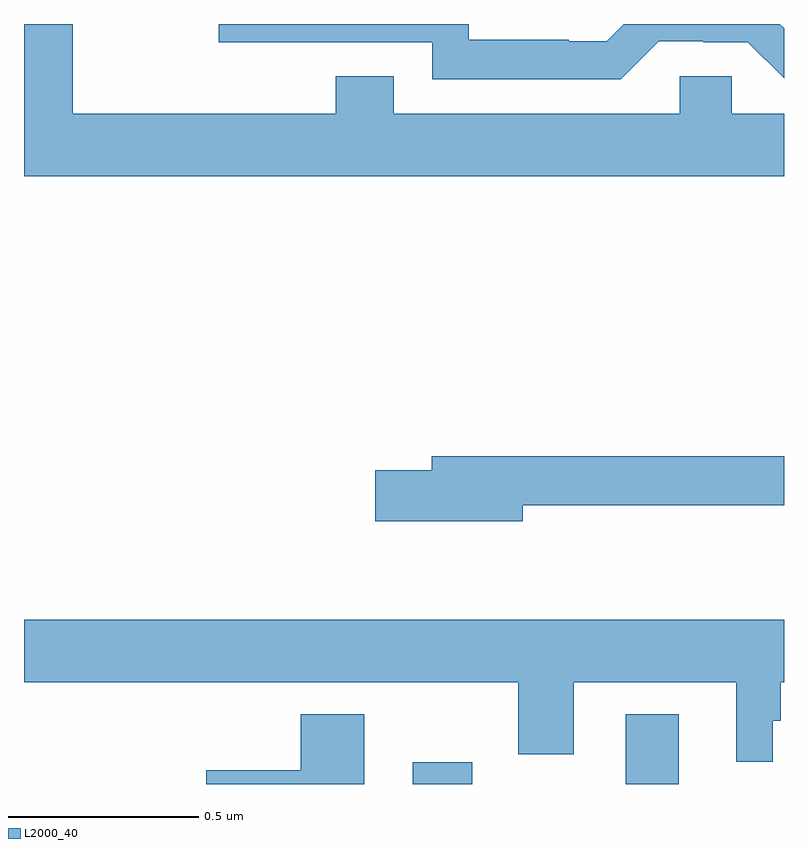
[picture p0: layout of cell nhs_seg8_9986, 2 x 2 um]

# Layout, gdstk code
import gdstk
lib = gdstk.Library(unit=1e-6, precision=1e-09)
def R(c, l, rs):  # rectangles x0, y0, x1, y1
    for r in rs: c.add(gdstk.rectangle(r[:2], r[2:], *l))
def P(c, l, *ps):  # polygons
    for p in ps: c.add(gdstk.Polygon(p, *l))
L2000_40 = (2000, 40)

nhs_seg8_9986 = lib.new_cell('nhs_seg8_9986')
R(nhs_seg8_9986, L2000_40, [(244.023,1114.9,244.179,1114.957), (244.583,1114.9,244.723,1115.083)])
P(nhs_seg8_9986, L2000_40, [(245,1116.664),(244.863,1116.664),(244.863,1116.762),(244.725,1116.762),(244.725,1116.664),(243.973,1116.664),(243.973,1116.763),(243.821,1116.763),(243.821,1116.664),(243.128,1116.664),(243.128,1116.9),(243,1116.9),(243,1116.5),(245,1116.5)],
  [(244.671,1116.855),(244.787,1116.855),(244.787,1116.852),(244.905,1116.852),(245,1116.757),(245,1116.889),(244.989,1116.9),(244.578,1116.9),(244.533,1116.855),(244.433,1116.855),(244.433,1116.859),(244.17,1116.859),(244.17,1116.9),(243.513,1116.9),(243.513,1116.852),(244.074,1116.852),(244.074,1116.755),(244.571,1116.755)],
  [(244.312,1115.634),(245,1115.634),(245,1115.762),(244.073,1115.762),(244.073,1115.726),(243.924,1115.726),(243.924,1115.591),(244.312,1115.591)],
  [(244.971,1115.067),(244.991,1115.067),(244.991,1115.168),(245,1115.168),(245,1115.332),(243,1115.332),(243,1115.168),(244.3,1115.168),(244.3,1114.978),(244.447,1114.978),(244.447,1115.168),(244.874,1115.168),(244.874,1114.958),(244.971,1114.958)],
  [(243.895,1115.083),(243.728,1115.083),(243.728,1114.936),(243.48,1114.936),(243.48,1114.9),(243.895,1114.9)])

lib.write_gds('nhs_seg8_9986.gds')
